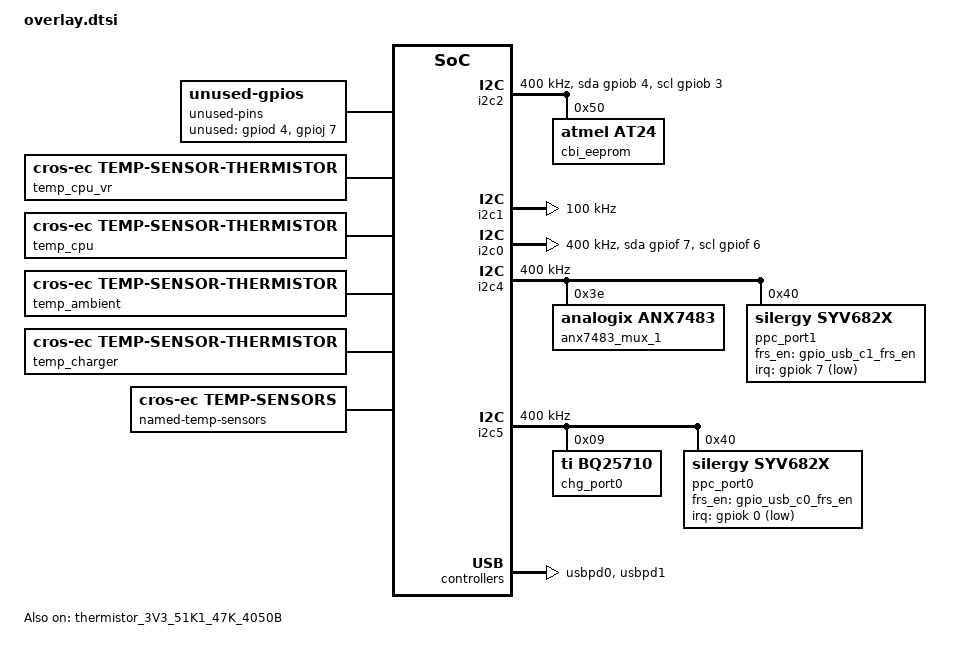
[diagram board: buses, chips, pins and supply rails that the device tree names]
/* Copyright 2023 The ChromiumOS Authors
 * Use of this source code is governed by a BSD-style license that can be
 * found in the LICENSE file.
 */

#include <cros/thermistor/thermistor.dtsi>
#include <dt-bindings/usb_pd_tcpm.h>
#include <dt-bindings/usbc_mux.h>

/ {
	aliases {
		gpio-cbi-wp = &gpio_ec_cbi_wp;
		gpio-wp = &gpio_ec_wp_odl;
		int-wp = &int_wp_l;
	};

	ec-console {
		compatible = "ec-console";
		disabled = "events", "lpc", "hostcmd";
	};

	batteries {
		default_battery: smp {
			compatible = "smp,c31n2005", "battery-smart";
		};
		dynapack_b140435 {
			compatible = "dynapack,b140435","battery-smart";
		};
	};

	hibernate-wake-pins {
		compatible = "cros-ec,hibernate-wake-pins";
		wakeup-irqs = <
			&int_power_button
			&int_lid_open
		>;
	};

	gpio-interrupts {
		compatible = "cros-ec,gpio-interrupts";

		int_power_button: power_button {
			irq-pin = <&gpio_gsc_ec_pwr_btn_odl>;
			flags = <GPIO_INT_EDGE_BOTH>;
			handler = "power_button_interrupt";
		};
		int_vol_down: vol_down {
			irq-pin = <&gpio_voldn_btn_odl>;
			flags = <GPIO_INT_EDGE_BOTH>;
			handler = "button_interrupt";
		};
		int_vol_up: vol_up {
			irq-pin = <&gpio_volup_btn_odl>;
			flags = <GPIO_INT_EDGE_BOTH>;
			handler = "button_interrupt";
		};
		int_wp_l: wp_l {
			irq-pin = <&gpio_ec_wp_odl>;
			flags = <GPIO_INT_EDGE_BOTH>;
			handler = "switch_interrupt";
		};
		int_lid_open: lid_open {
			irq-pin = <&gpio_lid_open>;
			flags = <GPIO_INT_EDGE_BOTH>;
			handler = "lid_interrupt";
		};
		int_tablet_mode: tablet_mode {
			irq-pin = <&gpio_tablet_mode_l>;
			flags = <GPIO_INT_EDGE_BOTH>;
			handler = "gmr_tablet_switch_isr";
		};
		int_imu: ec_imu {
			irq-pin = <&gpio_imu_int_l>;
			flags = <GPIO_INT_EDGE_FALLING>;
			handler = "motion_interrupt";
		};
		int_lid_imu: lid_imu {
			irq-pin = <&gpio_acc_int_l>;
			flags = <GPIO_INT_EDGE_FALLING>;
			handler = "lid_accel_interrupt";
		};
		int_ac_present: ac_present {
			irq-pin = <&gpio_ec_acok_od>;
			flags = <GPIO_INT_EDGE_BOTH>;
			handler = "extpower_interrupt";
		};
	};

	unused-pins {
		compatible = "unused-gpios";
		unused-gpios = <&gpiod 4 0>,
			       <&gpioj 7 0>;
	};

	temp_cpu_vr: cpu_vr {
		compatible = "cros-ec,temp-sensor-thermistor";
		thermistor = <&thermistor_3V3_51K1_47K_4050B>;
		adc = <&adc_temp_sensor_1>;
	};
	temp_cpu: cpu {
		compatible = "cros-ec,temp-sensor-thermistor";
		thermistor = <&thermistor_3V3_51K1_47K_4050B>;
		adc = <&adc_temp_sensor_2>;
	};
	temp_ambient: ambient {
		compatible = "cros-ec,temp-sensor-thermistor";
		thermistor = <&thermistor_3V3_51K1_47K_4050B>;
		adc = <&adc_temp_sensor_3>;
	};
	temp_charger: charger {
		compatible = "cros-ec,temp-sensor-thermistor";
		thermistor = <&thermistor_3V3_51K1_47K_4050B>;
		adc = <&adc_temp_sensor_4>;
	};

	named-temp-sensors {
		compatible = "cros-ec,temp-sensors";
		cpu_vr {
			temp_host_high = <88>;
			temp_host_halt = <91>;
			temp_host_release_high = <85>;
			power-good-pin = <&gpio_ec_soc_dsw_pwrok>;
			sensor = <&temp_cpu_vr>;
		};
		cpu {
			temp_host_high = <80>;
			temp_host_halt = <83>;
			temp_host_release_high = <77>;
			power-good-pin = <&gpio_ec_soc_dsw_pwrok>;
			sensor = <&temp_cpu>;
		};
		ambient {
			temp_host_high = <70>;
			temp_host_halt = <73>;
			temp_host_release_high = <67>;
			power-good-pin = <&gpio_ec_soc_dsw_pwrok>;
			sensor = <&temp_ambient>;
		};
		charger {
			temp_host_high = <84>;
			temp_host_halt = <87>;
			temp_host_release_high = <81>;
			power-good-pin = <&gpio_ec_soc_dsw_pwrok>;
			sensor = <&temp_charger>;
		};
	};

	usba {
		compatible = "cros-ec,usba-port-enable-pins";
		status = "okay";
		enable-pins = <&gpio_en_usb_a0_vbus &gpio_en_usb_a1_vbus>;
	};

	usbc {
		#address-cells = <1>;
		#size-cells = <0>;

		port0@0 {
			compatible = "named-usbc-port";
			reg = <0>;
			chg = <&chg_port0>;
			tcpc = <&usbpd0>;
			ppc = <&ppc_port0>;
			usb-mux-chain-0 {
				compatible = "cros-ec,usb-mux-chain";
				usb-muxes = <&virtual_mux_0>;
			};
		};
		port0-muxes {
			virtual_mux_0: virtual-mux-0 {
				compatible = "cros-ec,usbc-mux-virtual";
			};
		};
		port1@1 {
			compatible = "named-usbc-port";
			reg = <1>;
			tcpc = <&usbpd1>;
			ppc = <&ppc_port1>;
			usb-mux-chain-1 {
				compatible = "cros-ec,usb-mux-chain";
				usb-muxes = <&virtual_mux_1 &anx7483_mux_1>;
			};
			usb_mux_chain_1_no_mux: usb-mux-chain-1-no-mux {
				compatible = "cros-ec,usb-mux-chain";
				alternative-chain;
				usb-muxes = <&virtual_mux_1>;
			};
		};
		port1-muxes {
			virtual_mux_1: virtual-mux-1 {
				compatible = "cros-ec,usbc-mux-virtual";
			};
		};
	};
};

&gpio_imu_int_l {
	gpios = <&gpioj 0 (GPIO_INPUT | GPIO_VOLTAGE_1P8)>;
};
&gpio_vccin_aux_vid0 {
	gpios = <&gpiod 0 (GPIO_INPUT | GPIO_VOLTAGE_1P8)>;
};
&gpio_vccin_aux_vid1 {
	gpios = <&gpiok 1 (GPIO_INPUT | GPIO_VOLTAGE_1P8)>;
};

&gpio_ec_prochot_odl {
	gpios = <&gpioi 1 (GPIO_ODR_HIGH | GPIO_VOLTAGE_1P8)>;
};

&thermistor_3V3_51K1_47K_4050B {
	status = "okay";
};

&adc_ec_vsense_pp3300_s5 {
	/*
	 * Voltage divider on input has 47k upper and 220k lower legs with 3 V
	 * full-scale reading on the ADC. Apply the largest possible multiplier
	 * (without overflowing int32) to get the best possible approximation
	 * of the actual ratio, but derate by a factor of two to ensure
	 * unexpectedly high values won't overflow.
	 */
	mul = <(715828 / 2)>;
	div = <(589820 / 2)>;
};

&adc0 {
	pinctrl-0 = <&adc0_ch0_gpi0_default
		     &adc0_ch2_gpi2_default
		     &adc0_ch3_gpi3_default
		     &adc0_ch13_gpl0_default
		     &adc0_ch14_gpl1_default
		     &adc0_ch15_gpl2_default>;
	pinctrl-names = "default";
};

&pinctrl {
	i2c2_clk_gpf6_default: i2c2_clk_gpf6_default {
		gpio-voltage = "1v8";
	};
	i2c2_data_gpf7_default: i2c2_data_gpf7_default {
		gpio-voltage = "1v8";
	};
	i2c4_clk_gpe0_default: i2c4_clk_gpe0_default {
		gpio-voltage = "1v8";
	};
	i2c4_data_gpe7_default: i2c4_data_gpe7_default {
		gpio-voltage = "1v8";
	};
};

&i2c2 {
	label = "I2C_EEPROM";
	clock-frequency = <I2C_BITRATE_FAST>;

	cbi_eeprom: eeprom@50 {
		compatible = "atmel,at24";
		reg = <0x50>;
		size = <2048>;
		pagesize = <16>;
		address-width = <8>;
		timeout = <5>;
	};
	pinctrl-0 = <&i2c0_clk_gpb3_default
		     &i2c0_data_gpb4_default>;
	pinctrl-names = "default";
	scl-gpios = <&gpiob 3 0>;
	sda-gpios = <&gpiob 4 0>;
	channel-switch-sel = <I2C_CHA_LOCATE>;
	status = "okay";
};

&i2c1 {
	label = "I2C_BATTERY";
	clock-frequency = <I2C_BITRATE_STANDARD>;
	pinctrl-0 = <&i2c1_clk_gpc1_default
		     &i2c1_data_gpc2_default>;
	pinctrl-names = "default";
};

&i2c0 {
	label = "I2C_SENSOR";
	clock-frequency = <I2C_BITRATE_FAST>;
	pinctrl-0 = <&i2c2_clk_gpf6_default
		     &i2c2_data_gpf7_default>;
	pinctrl-names = "default";
	scl-gpios = <&gpiof 6 0>;
	sda-gpios = <&gpiof 7 0>;
	channel-switch-sel = <I2C_CHC_LOCATE>;
	status = "okay";
};

&i2c4 {
	label = "I2C_USB_C1";
	clock-frequency = <I2C_BITRATE_FAST>;
	pinctrl-0 = <&i2c4_clk_gpe0_default
		     &i2c4_data_gpe7_default>;
	pinctrl-names = "default";

	anx7483_mux_1: anx7483-mux-1@3e {
		compatible = "analogix,anx7483";
		reg = <0x3e>;
		board-set = "anx7483_set_default_tuning";
		flags = <USB_MUX_FLAG_RESETS_IN_G3>;
	};

	ppc_port1: ppc_syv@40 {
		compatible = "silergy,syv682x";
		status = "okay";
		reg = <0x40>;
		frs_en_gpio = <&gpio_usb_c1_frs_en>;
		irq-gpios = <&gpiok 7 GPIO_ACTIVE_LOW>;
	};
};

&i2c_ec_i2c_usb_c1 {
	/*
	 * Dynamic speed setting is used for AP-controlled firmware update
	 * of PS8745 TCPC/redriver: the AP lowers speed to 400 kHz in order
	 * to use more efficient window programming, then sets it back when
	 * done.
	 */
	dynamic-speed;
};

&i2c5 {
	label = "I2C_USB_C0";
	clock-frequency = <I2C_BITRATE_FAST>;
	pinctrl-0 = <&i2c5_clk_gpa4_default
		     &i2c5_data_gpa5_default>;
	pinctrl-names = "default";

	chg_port0: bq25710@9 {
		compatible = "ti,bq25710";
		status = "okay";
		reg = <0x9>;
	};

	ppc_port0: ppc_syv@40 {
		compatible = "silergy,syv682x";
		status = "okay";
		reg = <0x40>;
		frs_en_gpio = <&gpio_usb_c0_frs_en>;
		irq-gpios = <&gpiok 0 GPIO_ACTIVE_LOW>;
	};
};

&usbpd0 {
	status = "okay";
};

&usbpd1 {
	status = "okay";
};
